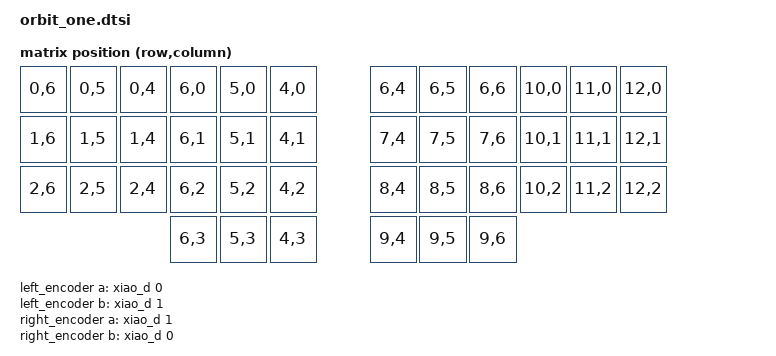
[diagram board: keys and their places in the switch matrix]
#include <dt-bindings/zmk/matrix_transform.h>
#include <physical_layouts.dtsi>
#include <dt-bindings/zmk/input_transform.h>
#include <input/processors.dtsi>
#include <dt-bindings/zmk/pointing.h>

/ {

    chosen {
        zmk,kscan = &kscan0;
        zmk,physical-layout = &physical_layout0;
    };
  
    default_transform: keymap_transform_0 {
        compatible = "zmk,matrix-transform";
        columns = <12>;
        rows = <4>;
// | SW6  | SW5  | SW4  | SW3  | SW2  | SW1  |                 | SW1  | SW2  | SW3  | SW4  | SW5  | SW6  |
// | SW12 | SW11 | SW10 | SW9  | SW8  | SW7  |                 | SW7  | SW8  | SW9  | SW10 | SW11 | SW12 |
// | SW18 | SW17 | SW16 | SW15 | SW14 | SW13 |                 | SW13 | SW14 | SW15 | SW16 | SW17 | SW18 |
//                      | SW29 | SW28 | SW27 |                 | SW27 | SW28 | SW29 |
        map = <
          RC(0,6) RC(0,5) RC(0,4) RC(6,0) RC(5,0) RC(4,0)                   RC(6,4) RC(6,5) RC(6,6) RC(10,0) RC(11,0) RC(12,0)
          RC(1,6) RC(1,5) RC(1,4) RC(6,1) RC(5,1) RC(4,1)                   RC(7,4) RC(7,5) RC(7,6) RC(10,1) RC(11,1) RC(12,1)
          RC(2,6) RC(2,5) RC(2,4) RC(6,2) RC(5,2) RC(4,2)                   RC(8,4) RC(8,5) RC(8,6) RC(10,2) RC(11,2) RC(12,2)
                                  RC(6,3) RC(5,3) RC(4,3)                   RC(9,4) RC(9,5) RC(9,6)
        >;
    };

    kscan0: kscan_charlyplex {
      compatible = "zmk,kscan-gpio-charlieplex";
      wakeup-source;

      // each hands use same GPIOs to map
            // row1 -> row4
      gpios = <&xiao_d 10  (GPIO_ACTIVE_HIGH)>  // 0
            , <&xiao_d 9  (GPIO_ACTIVE_HIGH)>  // 1
            , <&xiao_d 8  (GPIO_ACTIVE_HIGH)>   // 2
            , <&xiao_d 7 (GPIO_ACTIVE_HIGH)>   // 3
            // col1 -> col3
            , <&xiao_d 2 (GPIO_ACTIVE_HIGH)>  // 4
            , <&xiao_d 3 (GPIO_ACTIVE_HIGH)>  // 5
            , <&xiao_d 6 (GPIO_ACTIVE_HIGH)>  // 6
            ;
    };

    // Encoder definitions
    left_encoder: encoder_left {
        compatible = "alps,ec11";
        a-gpios = <&xiao_d 0 (GPIO_ACTIVE_HIGH | GPIO_PULL_UP)>;
        b-gpios = <&xiao_d 1 (GPIO_ACTIVE_HIGH | GPIO_PULL_UP)>;
        steps = <80>;
    };

    right_encoder: encoder_right {
        compatible = "alps,ec11";
        a-gpios = <&xiao_d 1 (GPIO_ACTIVE_HIGH | GPIO_PULL_UP)>;
        b-gpios = <&xiao_d 0 (GPIO_ACTIVE_HIGH | GPIO_PULL_UP)>;
        steps = <80>;
    };

    sensors: sensors {
        compatible = "zmk,keymap-sensors";
        sensors = <&left_encoder &right_encoder>;
        triggers-per-rotation = <20>;
    };

    // auto mouse layer
    /omit-if-no-ref/ zip_temp_layer: zip_temp_layer {
        compatible = "zmk,input-processor-temp-layer";
        #input-processor-cells = <2>;
        excluded-positions = <
            16 // F
            15 // D
            13 // A
            18 // J
            19 // K
            21 // ;
            12 // Ctrl
        >;
    };
    
    physical_layout0: physical_layout_0 {
        compatible = "zmk,physical-layout";
        display-name = "Default Layout";

        kscan = <&kscan0>;
        transform = <&default_transform>;

    keys  //                     w   h    x    y     rot    rx    ry
            = <&key_physical_attrs 100 100    0   50       0     0     0>
            , <&key_physical_attrs 100 100  100   37       0     0     0>
            , <&key_physical_attrs 100 100  200   12       0     0     0>
            , <&key_physical_attrs 100 100  300    0       0     0     0>
            , <&key_physical_attrs 100 100  400   12       0     0     0>
            , <&key_physical_attrs 100 100  500   25       0     0     0>
            , <&key_physical_attrs 100 100 1050   25       0     0     0>
            , <&key_physical_attrs 100 100 1150   12       0     0     0>
            , <&key_physical_attrs 100 100 1250    0       0     0     0>
            , <&key_physical_attrs 100 100 1350   12       0     0     0>
            , <&key_physical_attrs 100 100 1450   37       0     0     0>
            , <&key_physical_attrs 100 100 1550   50       0     0     0>
            , <&key_physical_attrs 100 100    0  150       0     0     0>
            , <&key_physical_attrs 100 100  100  137       0     0     0>
            , <&key_physical_attrs 100 100  200  112       0     0     0>
            , <&key_physical_attrs 100 100  300  100       0     0     0>
            , <&key_physical_attrs 100 100  400  112       0     0     0>
            , <&key_physical_attrs 100 100  500  125       0     0     0>
            , <&key_physical_attrs 100 100 1050  125       0     0     0>
            , <&key_physical_attrs 100 100 1150  112       0     0     0>
            , <&key_physical_attrs 100 100 1250  100       0     0     0>
            , <&key_physical_attrs 100 100 1350  112       0     0     0>
            , <&key_physical_attrs 100 100 1450  137       0     0     0>
            , <&key_physical_attrs 100 100 1550  150       0     0     0>
            , <&key_physical_attrs 100 100    0  250       0     0     0>
            , <&key_physical_attrs 100 100  100  237       0     0     0>
            , <&key_physical_attrs 100 100  200  212       0     0     0>
            , <&key_physical_attrs 100 100  300  200       0     0     0>
            , <&key_physical_attrs 100 100  400  212       0     0     0>
            , <&key_physical_attrs 100 100  500  225       0     0     0>
            , <&key_physical_attrs 100 100 1050  225       0     0     0>
            , <&key_physical_attrs 100 100 1150  212       0     0     0>
            , <&key_physical_attrs 100 100 1250  200       0     0     0>
            , <&key_physical_attrs 100 100 1350  212       0     0     0>
            , <&key_physical_attrs 100 100 1450  237       0     0     0>
            , <&key_physical_attrs 100 100 1550  250       0     0     0>
            , <&key_physical_attrs 100 100  250  312       0     0     0>
            , <&key_physical_attrs 100 100  350  315       0     0     0>
            , <&key_physical_attrs 100 100  450  325       0     0     0>
            , <&key_physical_attrs 100 150  575  300    3000   625   375>
            , <&key_physical_attrs 100 150  975  300 (-3000)  1025   375>
            , <&key_physical_attrs 100 100 1100  325       0     0     0>
            , <&key_physical_attrs 100 100 1200  315       0     0     0>
            , <&key_physical_attrs 100 100 1300  315       0     0     0>
            ;
    };
};

&i2c0 {
    compatible = "nordic,nrf-twim";

    glidepoint: glidepoint@2a {
        compatible = "cirque,pinnacle";
        reg = <0x2a>;
        dr-gpios = <&xiao_d 4 (GPIO_ACTIVE_HIGH)>;

        sensitivity = "2x";
        /* sleep; */
        no-taps;
        rotate-90;
    };
};

